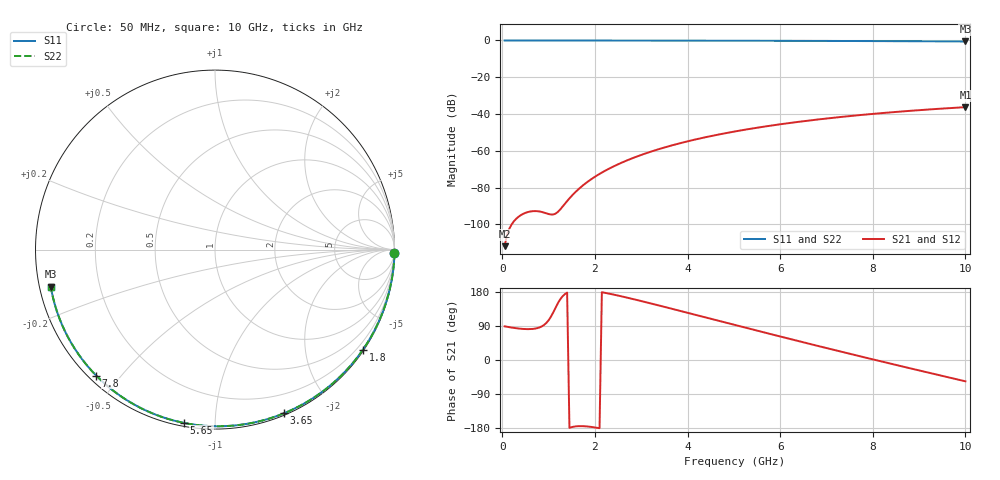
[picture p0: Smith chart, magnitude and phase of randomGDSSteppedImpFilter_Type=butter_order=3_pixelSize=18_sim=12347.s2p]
! freq	dB(S11)	phase(S11)	dB(S12)	phase(S12)
!  dB(S21)	phase(S21)	dB(S22)	phase(S22)
!S-par simulation data
#  GHz  S  DB  R 50
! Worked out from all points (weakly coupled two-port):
!   200 points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, 50 MHz to 10 GHz, reference 50 ohm
!   highest |S21| = -36.26 dB at 10 GHz (marker M1); lowest = -111.8 dB at 50 MHz (marker M2)
!   lowest |S11| = -0.6 dB at 10 GHz (marker M3), VSWR 31.22, Z = 1.62 - j5.55 ohm
!   |S11| at or under -10 dB: nowhere
!   |S22| runs from -0.6 to 0.0 dB; largest |S21 - S12| = 0
!   S11 on the Smith chart (normalised r, x): 50 MHz: open; 1.8 GHz: 0.03, -3.26; 3.65 GHz: 0.02, -1.50; 5.65 GHz: 0.02, -0.84; 7.8 GHz: 0.02, -0.43; 10 GHz: 0.03, -0.11
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0.05  -0.00 -1.0  -111.81 88.8  -111.81 88.8  -0.00 -1.0
0.45  -0.01 -8.7  -94.24 81.9  -94.24 81.9  -0.01 -8.7
0.85  -0.02 -16.3  -93.19 88.5  -93.19 88.5  -0.02 -16.3
1.65  -0.04 -31.3  -80.73 -174.6  -80.73 -174.6  -0.04 -31.3
1.7  -0.04 -32.3  -79.64 -174.5  -79.64 -174.5  -0.04 -32.3
1.75  -0.04 -33.2  -78.60 -174.6  -78.60 -174.6  -0.04 -33.2
1.8  -0.04 -34.1  -77.61 -175.0  -77.61 -175.0  -0.04 -34.1
2.1  -0.05 -39.6  -72.54 -180.0  -72.54 -180.0  -0.05 -39.6
2.3  -0.06 -43.3  -69.75 175.3  -69.75 175.3  -0.06 -43.3
2.5  -0.06 -46.9  -67.30 170.0  -67.30 170.0  -0.06 -46.9
2.9  -0.07 -54.1  -63.14 158.6  -63.14 158.6  -0.07 -54.1
3.4  -0.08 -62.9  -58.92 143.3  -58.92 143.3  -0.08 -62.9
3.65  -0.09 -67.2  -57.11 135.6  -57.11 135.6  -0.09 -67.2
4.3  -0.11 -78.2  -53.08 115.2  -53.08 115.2  -0.11 -78.2
5.05  -0.14 -90.6  -49.33 91.6  -49.33 91.6  -0.14 -90.6
5.65  -0.17 -100.2  -46.85 72.9  -46.85 72.9  -0.17 -100.2
6.15  -0.19 -108.0  -45.05 57.4  -45.05 57.4  -0.19 -108.0
6.7  -0.23 -116.5  -43.29 40.6  -43.29 40.6  -0.23 -116.5
7.8  -0.31 -133.3  -40.37 7.6  -40.37 7.6  -0.31 -133.3
8.35  -0.36 -141.7  -39.15 -8.6  -39.15 -8.6  -0.36 -141.7
9.2  -0.46 -154.7  -37.53 -33.3  -37.53 -33.3  -0.46 -154.7
10  -0.56 -167.3  -36.26 -56.2  -36.26 -56.2  -0.56 -167.3
